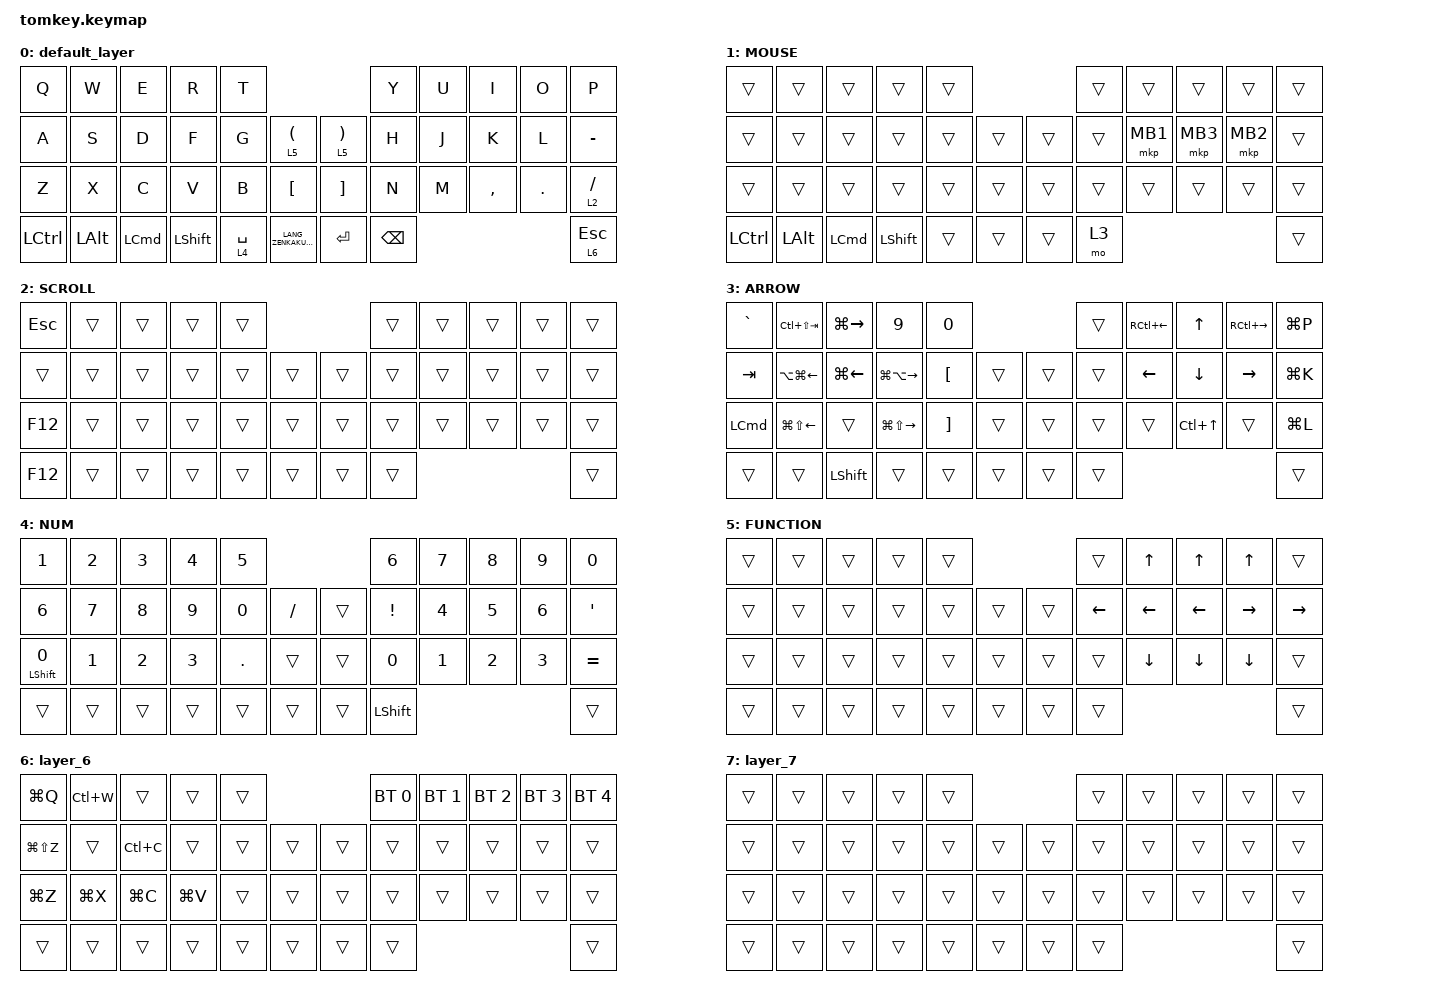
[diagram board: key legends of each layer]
#include <behaviors.dtsi>
#include <dt-bindings/zmk/bt.h>
#include <dt-bindings/zmk/keys.h>
#include <dt-bindings/zmk/pointing.h>

/ {
    keymap {
        compatible = "zmk,keymap";

        default_layer {
            bindings = <
&kp Q             &kp W         &kp E             &kp R           &kp T                                                              &kp Y          &kp U  &kp I      &kp O    &kp P
&kp A             &kp S         &kp D             &kp F           &kp G        &lt 5 LEFT_PARENTHESIS       &lt 5 RIGHT_PARENTHESIS  &kp H          &kp J  &kp K      &kp L    &kp MINUS
&kp Z             &kp X         &kp C             &kp V           &kp B        &kp LEFT_BRACKET             &kp RIGHT_BRACKET        &kp N          &kp M  &kp COMMA  &kp DOT  &lt 2 SLASH
&kp LEFT_CONTROL  &kp LEFT_ALT  &kp LEFT_COMMAND  &kp LEFT_SHIFT  &lt 4 SPACE  &kp LANG_ZENKAKUHANKAKU      &kp ENTER                &kp BACKSPACE                             &lt 6 ESCAPE
            >;
        };

        MOUSE {
            bindings = <
&trans     &trans        &trans            &trans          &trans                      &trans  &trans    &trans    &trans    &trans
&trans     &trans        &trans            &trans          &trans  &trans      &trans  &trans  &mkp MB1  &mkp MB3  &mkp MB2  &trans
&trans     &trans        &trans            &trans          &trans  &trans      &trans  &trans  &trans    &trans    &trans    &trans
&kp LCTRL  &kp LEFT_ALT  &kp LEFT_COMMAND  &kp LEFT_SHIFT  &trans  &trans      &trans  &mo 3                                 &trans
            >;
        };

        SCROLL {
            bindings = <
&kp ESCAPE  &trans  &trans  &trans  &trans                      &trans  &trans  &trans  &trans  &trans
&trans      &trans  &trans  &trans  &trans  &trans      &trans  &trans  &trans  &trans  &trans  &trans
&kp F12     &trans  &trans  &trans  &trans  &trans      &trans  &trans  &trans  &trans  &trans  &trans
&kp F12     &trans  &trans  &trans  &trans  &trans      &trans  &trans                          &trans
            >;
        };

        ARROW {
            bindings = <
&kp GRAVE  &kp LC(LS(TAB))         &kp LG(RIGHT)   &kp NUMBER_9             &kp NUMBER_0                           &trans  &kp RC(LEFT_ARROW)  &kp UP_ARROW      &kp RC(RIGHT_ARROW)  &kp LG(P)
&kp TAB    &kp LA(LG(LEFT_ARROW))  &kp LG(LEFT)    &kp LG(LA(RIGHT_ARROW))  &kp LEFT_BRACKET   &trans      &trans  &trans  &kp LEFT_ARROW      &kp DOWN_ARROW    &kp RIGHT_ARROW      &kp LG(K)
&kp LCMD   &kp LG(LS(LEFT_ARROW))  &trans          &kp LG(LS(RIGHT_ARROW))  &kp RIGHT_BRACKET  &trans      &trans  &trans  &trans              &kp LC(UP_ARROW)  &trans               &kp LG(L)
&trans     &trans                  &kp LEFT_SHIFT  &trans                   &trans             &trans      &trans  &trans                                                             &trans
            >;
        };

        NUM {
            bindings = <
&kp NUMBER_1             &kp NUMBER_2  &kp NUMBER_3  &kp NUMBER_4  &kp NUMBER_5                         &kp NUMBER_6     &kp NUMBER_7  &kp NUMBER_8  &kp NUMBER_9  &kp NUMBER_0
&kp NUMBER_6             &kp NUMBER_7  &kp NUMBER_8  &kp NUMBER_9  &kp NUMBER_0  &kp SLASH      &trans  &kp EXCLAMATION  &kp NUMBER_4  &kp NUMBER_5  &kp NUMBER_6  &kp SQT
&mt LEFT_SHIFT NUMBER_0  &kp NUMBER_1  &kp NUMBER_2  &kp NUMBER_3  &kp PERIOD    &trans         &trans  &kp NUMBER_0     &kp NUMBER_1  &kp NUMBER_2  &kp NUMBER_3  &kp EQUAL
&trans                   &trans        &trans        &trans        &trans        &trans         &trans  &kp LEFT_SHIFT                                             &trans
            >;
        };

        FUNCTION {
            bindings = <
&trans  &trans  &trans  &trans  &trans                      &trans          &kp UP_ARROW    &kp UP_ARROW    &kp UP_ARROW     &trans
&trans  &trans  &trans  &trans  &trans  &trans      &trans  &kp LEFT_ARROW  &kp LEFT_ARROW  &kp LEFT_ARROW  &kp RIGHT_ARROW  &kp RIGHT_ARROW
&trans  &trans  &trans  &trans  &trans  &trans      &trans  &trans          &kp DOWN_ARROW  &kp DOWN_ARROW  &kp DOWN_ARROW   &trans
&trans  &trans  &trans  &trans  &trans  &trans      &trans  &trans                                                           &trans
            >;
        };

        layer_6 {
            bindings = <
&kp LG(Q)      &kp LC(W)  &trans     &trans     &trans                      &bt BT_SEL 0  &bt BT_SEL 1  &bt BT_SEL 2  &bt BT_SEL 3  &bt BT_SEL 4
&kp LG(LS(Z))  &trans     &kp LC(C)  &trans     &trans  &trans      &trans  &trans        &trans        &trans        &trans        &trans
&kp LG(Z)      &kp LG(X)  &kp LG(C)  &kp LG(V)  &trans  &trans      &trans  &trans        &trans        &trans        &trans        &trans
&trans         &trans     &trans     &trans     &trans  &trans      &trans  &trans                                                  &trans
            >;
        };

        layer_7 {
            bindings = <
&trans  &trans  &trans  &trans  &trans                      &trans  &trans  &trans  &trans  &trans
&trans  &trans  &trans  &trans  &trans  &trans      &trans  &trans  &trans  &trans  &trans  &trans
&trans  &trans  &trans  &trans  &trans  &trans      &trans  &trans  &trans  &trans  &trans  &trans
&trans  &trans  &trans  &trans  &trans  &trans      &trans  &trans                          &trans
            >;
        };
    };
};
